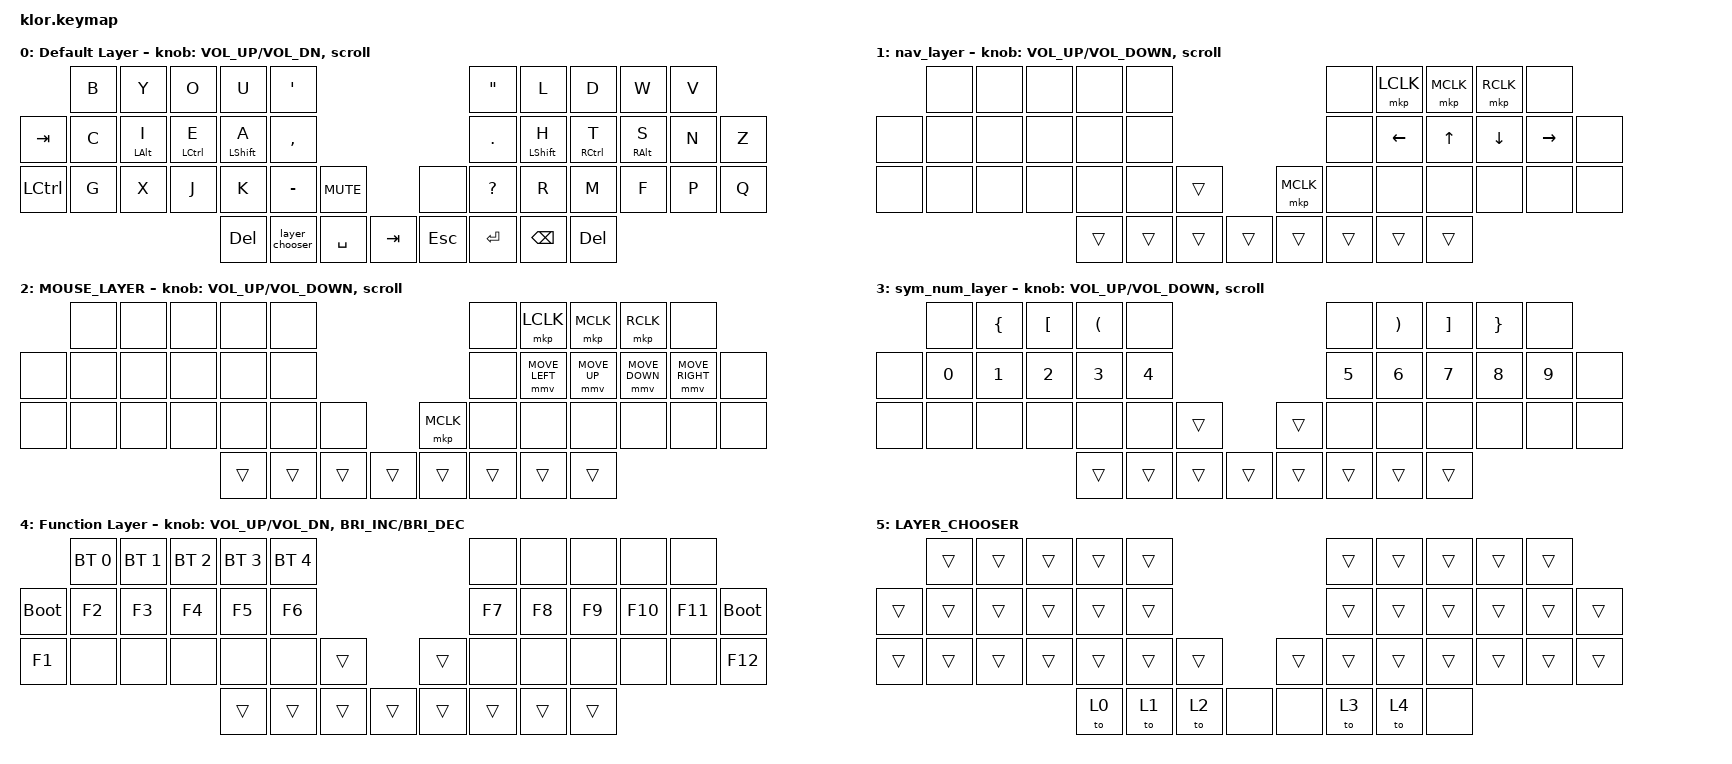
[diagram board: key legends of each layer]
/*
 * Copyright (c) 2020 The ZMK Contributors
 *
 * SPDX-License-Identifier: MIT
 */

#include <behaviors.dtsi>
#include <dt-bindings/zmk/bt.h>
#include <dt-bindings/zmk/keys.h>
#include <dt-bindings/zmk/pointing.h>

/ {
    behaviors {
        hm: homerow_mods {
            compatible = "zmk,behavior-hold-tap";
            label = "HOMEROW_MODS";
            bindings = <&kp>, <&kp>;

            #binding-cells = <2>;
            tapping-term-ms = <150>;
            flavor = "tap-preferred";
        };

        layer_chooser: layer_chooser {
            compatible = "zmk,behavior-tap-dance";
            label = "LAYER_CHOOSER";
            #binding-cells = <0>;
            bindings = <&to 5>, <&to 0>;
        };

        scroll: scroll {
            compatible = "zmk,behavior-sensor-rotate";
            label = "SCROLL";
            #sensor-binding-cells = <0>;
            bindings = <&msc SCRL_UP>, <&msc SCRL_DOWN>;
        };
    };

    keymap {
        compatible = "zmk,keymap";

        default_layer {
            display-name = "Default Layer";

            // ---------------------------------------------------------------------------------------------------------------------------------
            // |  ESC  |  Q  |  W  |  E   |  R   |  T   |                                          |  Y   |  U    |  I    |  O   |   P   |   \  |
            // |  TAB  |  A  |  S  |  D   |  F   |  G   |                                          |  H   |  J    |  K    |  L   |   ;   |   '  |
            // | SHIFT |  Z  |  X  |  C   |  V   |  B   | L SHIFT | L SHIFT |  | LAYER 1 | L SHIFT |  N   |  M    |  ,    |  .   |   /   | CTRL |
            //                     | GUI  | DEL  | RET  |  SPACE  |   ESC   |  |   RET   |  SPACE  | TAB  | BSPC  | R-ALT |

            bindings = <
                  &kp B  &kp Y           &kp O        &kp U        &kp SQT                                                    &kp DQT        &kp L         &kp D        &kp W            &kp V
&kp TAB           &kp C  &hm LEFT_ALT I  &hm LCTRL E  &hm LSHFT A  &kp COMMA                                                  &kp DOT        &hm LSHIFT H  &hm RCTRL T  &hm RIGHT_ALT S  &kp N  &kp Z
&kp LEFT_CONTROL  &kp G  &kp X           &kp J        &kp K        &kp MINUS       &kp C_MUTE                      &none      &kp QUESTION   &kp R         &kp M        &kp F            &kp P  &kp Q
                                                      &kp DEL      &layer_chooser  &kp SPACE   &kp TAB    &kp ESC  &kp ENTER  &kp BACKSPACE  &kp DELETE
            >;

            sensor-bindings = <&inc_dec_kp C_VOL_UP C_VOL_DN>, <&scroll>;
        };

        nav_layer {
            bindings = <
       &none  &none  &none  &none   &none                                        &none   &mkp LCLK  &mkp MCLK  &mkp RCLK  &none
&none  &none  &none  &none  &none   &none                                        &none   &kp LEFT   &kp UP     &kp DOWN   &kp RIGHT  &none
&none  &none  &none  &none  &none   &none   &trans                    &mkp MCLK  &none   &none      &none      &none      &none      &none
                            &trans  &trans  &trans  &trans    &trans  &trans     &trans  &trans
            >;

            sensor-bindings =
                <&inc_dec_kp C_VOLUME_UP C_VOLUME_DOWN>,
                <&scroll>;
        };

        MOUSE_LAYER {
            bindings = <
       &none  &none  &none  &none   &none                                        &none   &mkp LCLK       &mkp MCLK     &mkp RCLK       &none
&none  &none  &none  &none  &none   &none                                        &none   &mmv MOVE_LEFT  &mmv MOVE_UP  &mmv MOVE_DOWN  &mmv MOVE_RIGHT  &none
&none  &none  &none  &none  &none   &none   &none                     &mkp MCLK  &none   &none           &none         &none           &none            &none
                            &trans  &trans  &trans  &trans    &trans  &trans     &trans  &trans
            >;

            sensor-bindings =
                <&inc_dec_kp C_VOLUME_UP C_VOLUME_DOWN>,
                <&scroll>;
        };

        sym_num_layer {
            bindings = <
       &none         &kp LEFT_BRACE  &kp LEFT_BRACKET  &kp LEFT_PARENTHESIS  &none                                           &none   &kp RIGHT_PARENTHESIS  &kp RIGHT_BRACKET  &kp RIGHT_BRACE  &none
&none  &kp NUMBER_0  &kp NUMBER_1    &kp NUMBER_2      &kp NUMBER_3          &kp NUMBER_4                                    &kp N5  &kp NUMBER_6           &kp NUMBER_7       &kp NUMBER_8     &kp NUMBER_9  &none
&none  &none         &none           &none             &none                 &none         &trans                    &trans  &none   &none                  &none              &none            &none         &none
                                                       &trans                &trans        &trans  &trans    &trans  &trans  &trans  &trans
            >;

            sensor-bindings =
                <&inc_dec_kp C_VOLUME_UP C_VOLUME_DOWN>,
                <&scroll>;
        };

        function_layer {
            display-name = "Function Layer";

            // ---------------------------------------------------------------------------------------------------------------------------------
            // |       |      |BT_CLR|BTSEL0|BTSEL1|BTSEL2|                                         |      |      |      |      |      |      |
            // |       |      |      |BTSEL3|BTSEL4|      |                                         |      |      |      |      |      |      |
            // |       |      |      |      |      |      |      |      |      |      |      |      |      |      |      |      |      |      |
            //                       |      |      |      |      |      |      |      |      |      |      |      |      |

            bindings = <
             &bt BT_SEL 0  &bt BT_SEL 1  &bt BT_SEL 2  &bt BT_SEL 3  &bt BT_SEL 4                                    &none   &none   &none   &none    &none
&bootloader  &kp F2        &kp F3        &kp F4        &kp F5        &kp F6                                          &kp F7  &kp F8  &kp F9  &kp F10  &kp F11  &bootloader
&kp F1       &none         &none         &none         &none         &none         &trans                    &trans  &none   &none   &none   &none    &none    &kp F12
                                                       &trans        &trans        &trans  &trans    &trans  &trans  &trans  &trans
            >;

            sensor-bindings =
                <&inc_dec_kp C_VOL_UP C_VOL_DN>,
                <&inc_dec_kp C_BRIGHTNESS_INC C_BRIGHTNESS_DEC>;
        };

        LAYER_CHOOSER {
            bindings = <
        &trans  &trans  &trans  &trans  &trans                                  &trans  &trans  &trans  &trans  &trans
&trans  &trans  &trans  &trans  &trans  &trans                                  &trans  &trans  &trans  &trans  &trans  &trans
&trans  &trans  &trans  &trans  &trans  &trans  &trans                  &trans  &trans  &trans  &trans  &trans  &trans  &trans
                                &to 0   &to 1   &to 2   &none    &none  &to 3   &to 4   &none
            >;
        };
    };
};
